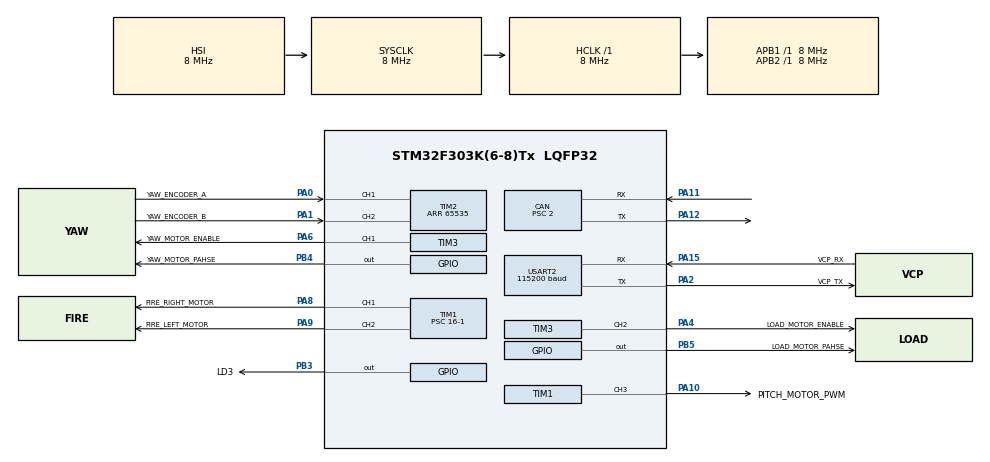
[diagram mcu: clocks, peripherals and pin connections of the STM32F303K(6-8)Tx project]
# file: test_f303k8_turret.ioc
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Mcu.Family=STM32F3
RCC.CortexFreq_Value=8000000
PF0\ /\ OSC_IN.Mode=HSE-External-Clock-Source
NVIC.CAN_RX0_IRQn=true\:0\:0\:false\:false\:true\:true\:true
PA14.GPIO_Label=SWCLK
PA0.GPIO_Label=YAW_ENCODER_A
PA11.Mode=CAN_Activate
PA6.GPIO_Label=YAW_MOTOR_ENABLE
TIM2.EncoderMode=TIM_ENCODERMODE_TI12
ProjectManager.StackSize=0x400
PA15.GPIO_Label=VCP_RX
PA12.Signal=CAN_TX
CAN.Prescaler=2
TIM1.Prescaler=16-1
TIM15.Prescaler=8-1
TIM3.Period=1000-1
RCC.AHBFreq_Value=8000000
TIM3.Channel-PWM\ Generation1\ CH1=TIM_CHANNEL_1
RCC.HSE_VALUE=8000000
USART2.VirtualMode-Asynchronous=VM_ASYNC
PA15.Mode=Asynchronous
TIM15.Period=1000-1
TIM1.Channel-PWM\ Generation1\ CH1=TIM_CHANNEL_1
PA14.Mode=Serial_Wire
PF0\ /\ OSC_IN.GPIO_Label=MCO
TIM3.Prescaler=8-1
PA10.GPIO_Label=PITCH_MOTOR_PWM
PA8.Signal=S_TIM1_CH1
SH.S_TIM3_CH1.0=TIM3_CH1,PWM Generation1 CH1
CAN.CalculateTimeQuantum=250.0
PA0.Signal=S_TIM2_CH1_ETR
Mcu.Package=LQFP32
PA6.Signal=S_TIM3_CH1
PA2.GPIO_Label=VCP_TX
PA10.Signal=S_TIM1_CH3
PA15.Signal=USART2_RX
PB5.GPIO_Label=LOAD_MOTOR_PAHSE
TIM1.Period=1250-1
PA4.GPIO_Label=LOAD_MOTOR_ENABLE
PB4.Signal=GPIO_Output
PB3.GPIO_Label=LD3
CAN.CalculateBaudRate=400000
PA9.GPIO_Label=FIRE_LEFT_MOTOR
USART2.BaudRate=115200
CAN.CalculateTimeBit=2500.00
PA13.Signal=SYS_JTMS-SWDIO
SH.S_TIM2_CH2.0=TIM2_CH2,Encoder_Interface
CAN.BS2=CAN_BS2_2TQ
PA8.GPIO_Label=FIRE_RIGHT_MOTOR
CAN.BS1=CAN_BS1_7TQ
SH.S_TIM1_CH1.0=TIM1_CH1,PWM Generation1 CH1
ProjectManager.TargetToolchain=STM32CubeIDE
PA9.Signal=S_TIM1_CH2
TIM1.Channel-PWM\ Generation2\ CH2=TIM_CHANNEL_2
PA1.Signal=S_TIM2_CH2
SH.S_TIM3_CH2.0=TIM3_CH2,PWM Generation2 CH2
NVIC.TIM1_BRK_TIM15_IRQn=true\:0\:0\:false\:false\:true\:true\:true
board=NUCLEO-F303K8
RCC.APB2Freq_Value=8000000
PF0\ /\ OSC_IN.Signal=RCC_OSC_IN
PB4.GPIO_Label=YAW_MOTOR_PAHSE
SH.S_TIM1_CH2.0=TIM1_CH2,PWM Generation2 CH2
PA1.GPIO_Label=YAW_ENCODER_B
TIM2.Period=65535
PA13.Mode=Serial_Wire
Mcu.Name=STM32F303K(6-8)Tx
PA13.GPIO_Label=SWDIO
PA2.Signal=USART2_TX
PB3.Signal=GPIO_Output
PA4.Signal=S_TIM3_CH2
RCC.SYSCLKFreq_VALUE=8000000
PB5.Signal=GPIO_Output
PA12.Mode=CAN_Activate
PA11.Signal=CAN_RX
SH.S_TIM2_CH1_ETR.0=TIM2_CH1,Encoder_Interface
VP_TIM15_VS_ClockSourceINT.Mode=Internal
PA14.Signal=SYS_JTCK-SWCLK
ProjectManager.HeapSize=0x200
SH.S_TIM1_CH3.0=TIM1_CH3,PWM Generation3 CH3
RCC.HSI_VALUE=8000000
NVIC.PriorityGroup=NVIC_PRIORITYGROUP_4
TIM3.Channel-PWM\ Generation2\ CH2=TIM_CHANNEL_2
PA2.Mode=Asynchronous
TIM1.Channel-PWM\ Generation3\ CH3=TIM_CHANNEL_3
RCC.APB1Freq_Value=8000000

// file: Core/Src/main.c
/* USER CODE BEGIN Header */
/**
  ******************************************************************************
  * @file           : main.c
  * @brief          : Main program body
  ******************************************************************************
  * @attention
  *
  * <h2><center>&copy; Copyright (c) 2024 STMicroelectronics.
  * All rights reserved.</center></h2>
  *
  * This software component is licensed by ST under BSD 3-Clause license,
  * the "License"; You may not use this file except in compliance with the
  * License. You may obtain a copy of the License at:
  *                        opensource.org/licenses/BSD-3-Clause
  *
  ******************************************************************************
  */
/* USER CODE END Header */
#include "main.h"

/* USER CODE BEGIN Includes */
#include <stdio.h>
#include <stdlib.h>
#include <string.h>
/* USER CODE END Includes */

CAN_HandleTypeDef hcan;

TIM_HandleTypeDef htim1;
TIM_HandleTypeDef htim2;
TIM_HandleTypeDef htim3;
TIM_HandleTypeDef htim15;

UART_HandleTypeDef huart2;

/* USER CODE BEGIN PV */
uint16_t motor_count = 0;
uint16_t encoder_count = 0;

float cmd_vel[2]; // yaw, pitch

uint16_t pitch_min = 250;
uint16_t pitch_max = 500;
uint16_t pitch_output;

/* USER CODE END PV */

void SystemClock_Config(void);
static void MX_GPIO_Init(void);
static void MX_USART2_UART_Init(void);
static void MX_CAN_Init(void);
static void MX_TIM1_Init(void);
static void MX_TIM2_Init(void);
static void MX_TIM3_Init(void);
static void MX_TIM15_Init(void);

/* USER CODE BEGIN 0 */
void HAL_CAN_RxFifo0MsgPendingCallback(CAN_HandleTypeDef *hcan)
{
  CAN_RxHeaderTypeDef RxHeader;
  uint8_t RxData[8];
  if (HAL_CAN_GetRxMessage(hcan, CAN_RX_FIFO0, &RxHeader, RxData) == HAL_OK)
  {
    // printf("id=%#x, [0]=%#x, [1]=%#x, [2]=%#x, [3]=%#x, [4]=%#x, [5]=%#x, [6]=%#x, [7]=%#x\r\n",
    //   RxHeader.StdId, RxData[0], RxData[1], RxData[2], RxData[3], RxData[4], RxData[5], RxData[6], RxData[7]);

    if (RxHeader.StdId == 0x712)
    {
      HAL_GPIO_TogglePin(LD3_GPIO_Port, LD3_Pin);
      union {
          float f;
          int32_t ui;
      } data;
      data.ui = (int32_t) (
            (((int32_t)RxData[0] << 24) & 0xFF000000)
          | (((int32_t)RxData[1] << 16) & 0x00FF0000)
          | (((int32_t)RxData[2] <<  8) & 0x0000FF00)
          | (((int32_t)RxData[3] <<  0) & 0x000000FF)
      );
      cmd_vel[0] = data.f;
      data.ui = (int32_t) (
            (((int32_t)RxData[4] << 24) & 0xFF000000)
          | (((int32_t)RxData[5] << 16) & 0x00FF0000)
          | (((int32_t)RxData[6] <<  8) & 0x0000FF00)
          | (((int32_t)RxData[7] <<  0) & 0x000000FF)
      );
      cmd_vel[1] = data.f;

      // printf("cmd_vel: [0]=%f, [1]=%f\r\n", cmd_vel[0], cmd_vel[1]);
    }
  }
}

int16_t read_encoder_value()
{
  uint16_t enc_buff = TIM2->CNT;
  int16_t enc_count = (int16_t)enc_buff - 32767;
  TIM2->CNT = 32767;
  return enc_count;
}

void HAL_TIM_PeriodElapsedCallback(TIM_HandleTypeDef *htim)
{
  if (htim == &htim15)
  {
    // ---encoder
    encoder_count++;
    if (encoder_count > 200 ) // 5Hz
    {
      encoder_count = 0;
      int16_t encoder_value= read_encoder_value();
      // printf("enc_buff: %d\r\n", encoder_value);
      printf("curr_yaw_vel(deg/s): %f\r\n", (float)encoder_value * 0.524476 * 0.657895); // 1:78 25/38
    }

    // ---motor
    motor_count++;
    if (motor_count > 50) // 20Hz
    {
      motor_count = 0;
      // yaw
      uint16_t yaw_output;
      if (cmd_vel[0] > 0)
      {
        yaw_output = (uint16_t)(300.0 * cmd_vel[0]);
        HAL_GPIO_WritePin(YAW_MOTOR_PAHSE_GPIO_Port, YAW_MOTOR_PAHSE_Pin, GPIO_PIN_SET);
      }
      else
      {
        yaw_output = (uint16_t)(-300.0 * cmd_vel[0]);
        HAL_GPIO_WritePin(YAW_MOTOR_PAHSE_GPIO_Port, YAW_MOTOR_PAHSE_Pin, GPIO_PIN_RESET);
      }
      __HAL_TIM_SET_COMPARE(&htim3, TIM_CHANNEL_1, yaw_output);
      HAL_TIM_PWM_Start(&htim3, TIM_CHANNEL_1);
      printf("yaw_output: %d\r\n", yaw_output);

      // pitch
      if (cmd_vel[1] > 0.001)
      {
        pitch_output -= 30;
      }
      else if(cmd_vel[1] < -0.001)
      {
        pitch_output += 30;
      }
      if (pitch_output < pitch_min)
      {
        pitch_output = pitch_min;
      }
      if (pitch_output > pitch_max)
      {
        pitch_output = pitch_max;
      }
      __HAL_TIM_SET_COMPARE(&htim1, TIM_CHANNEL_3, pitch_output); // 0~1250
      HAL_TIM_PWM_Start(&htim1, TIM_CHANNEL_3);
      printf("pitch_output: %d\r\n", pitch_output);
    }
  }
}
/* USER CODE END 0 */

int main(void)
{
  /* USER CODE BEGIN 1 */
  setbuf(stdout, NULL);
  /* USER CODE END 1 */

  /* MCU Configuration--------------------------------------------------------*/

  /* Reset of all peripherals, Initializes the Flash interface and the Systick. */
  HAL_Init();

  /* Configure the system clock */
  SystemClock_Config();

  /* Initialize all configured peripherals */
  MX_GPIO_Init();
  MX_USART2_UART_Init();
  MX_CAN_Init();
  MX_TIM1_Init();
  MX_TIM2_Init();
  MX_TIM3_Init();
  MX_TIM15_Init();
  /* USER CODE BEGIN 2 */
  HAL_TIM_Base_Start_IT(&htim15);
  HAL_TIM_Encoder_Start(&htim2, TIM_CHANNEL_ALL);
  HAL_CAN_Start(&hcan);
  if (HAL_CAN_ActivateNotification(&hcan, CAN_IT_RX_FIFO0_MSG_PENDING) != HAL_OK)
  {
    Error_Handler();
  }
  /* USER CODE END 2 */

  /* Infinite loop */
  while (1)
  {

    /* USER CODE BEGIN 3 */
    HAL_GPIO_TogglePin(LD3_GPIO_Port, LD3_Pin);
    HAL_Delay(50);
  }
  /* USER CODE END 3 */
}

void SystemClock_Config(void)
{
  RCC_OscInitTypeDef RCC_OscInitStruct = {0};
  RCC_ClkInitTypeDef RCC_ClkInitStruct = {0};
  RCC_PeriphCLKInitTypeDef PeriphClkInit = {0};

  /** Initializes the RCC Oscillators according to the specified parameters
  * in the RCC_OscInitTypeDef structure.
  */
  RCC_OscInitStruct.OscillatorType = RCC_OSCILLATORTYPE_HSI;
  RCC_OscInitStruct.HSIState = RCC_HSI_ON;
  RCC_OscInitStruct.HSICalibrationValue = RCC_HSICALIBRATION_DEFAULT;
  RCC_OscInitStruct.PLL.PLLState = RCC_PLL_NONE;
  if (HAL_RCC_OscConfig(&RCC_OscInitStruct) != HAL_OK)
  {
    Error_Handler();
  }
  /** Initializes the CPU, AHB and APB buses clocks
  */
  RCC_ClkInitStruct.ClockType = RCC_CLOCKTYPE_HCLK|RCC_CLOCKTYPE_SYSCLK
                              |RCC_CLOCKTYPE_PCLK1|RCC_CLOCKTYPE_PCLK2;
  RCC_ClkInitStruct.SYSCLKSource = RCC_SYSCLKSOURCE_HSI;
  RCC_ClkInitStruct.AHBCLKDivider = RCC_SYSCLK_DIV1;
  RCC_ClkInitStruct.APB1CLKDivider = RCC_HCLK_DIV1;
  RCC_ClkInitStruct.APB2CLKDivider = RCC_HCLK_DIV1;

  if (HAL_RCC_ClockConfig(&RCC_ClkInitStruct, FLASH_LATENCY_0) != HAL_OK)
  {
    Error_Handler();
  }
  PeriphClkInit.PeriphClockSelection = RCC_PERIPHCLK_TIM1;
  PeriphClkInit.Tim1ClockSelection = RCC_TIM1CLK_HCLK;
  if (HAL_RCCEx_PeriphCLKConfig(&PeriphClkInit) != HAL_OK)
  {
    Error_Handler();
  }
}

static void MX_CAN_Init(void)
{

  hcan.Instance = CAN;
  hcan.Init.Prescaler = 2;
  hcan.Init.Mode = CAN_MODE_NORMAL;
  hcan.Init.SyncJumpWidth = CAN_SJW_1TQ;
  hcan.Init.TimeSeg1 = CAN_BS1_7TQ;
  hcan.Init.TimeSeg2 = CAN_BS2_2TQ;
  hcan.Init.TimeTriggeredMode = DISABLE;
  hcan.Init.AutoBusOff = DISABLE;
  hcan.Init.AutoWakeUp = DISABLE;
  hcan.Init.AutoRetransmission = DISABLE;
  hcan.Init.ReceiveFifoLocked = DISABLE;
  hcan.Init.TransmitFifoPriority = DISABLE;
  if (HAL_CAN_Init(&hcan) != HAL_OK)
  {
    Error_Handler();
  }
  /* USER CODE BEGIN CAN_Init 2 */
  CAN_FilterTypeDef  filter;
  uint32_t fId = 0x710 << 21;
  uint32_t fMask = (0x7F0 << 21) | 0x4;

  filter.FilterIdHigh         = fId >> 16;
  filter.FilterIdLow          = fId;
  filter.FilterMaskIdHigh     = fMask >> 16;
  filter.FilterMaskIdLow      = fMask;
  filter.FilterScale          = CAN_FILTERSCALE_32BIT;
  filter.FilterFIFOAssignment = CAN_FILTER_FIFO0;
  filter.FilterBank           = 0;
  filter.FilterMode           = CAN_FILTERMODE_IDMASK;
  filter.SlaveStartFilterBank = 14;
  filter.FilterActivation     = ENABLE;

  if (HAL_CAN_ConfigFilter(&hcan, &filter) != HAL_OK)
  {
    Error_Handler();
  }
  /* USER CODE END CAN_Init 2 */

}

static void MX_TIM1_Init(void)
{

  TIM_MasterConfigTypeDef sMasterConfig = {0};
  TIM_OC_InitTypeDef sConfigOC = {0};
  TIM_BreakDeadTimeConfigTypeDef sBreakDeadTimeConfig = {0};

  htim1.Instance = TIM1;
  htim1.Init.Prescaler = 16-1;
  htim1.Init.CounterMode = TIM_COUNTERMODE_UP;
  htim1.Init.Period = 1250-1;
  htim1.Init.ClockDivision = TIM_CLOCKDIVISION_DIV1;
  htim1.Init.RepetitionCounter = 0;
  htim1.Init.AutoReloadPreload = TIM_AUTORELOAD_PRELOAD_DISABLE;
  if (HAL_TIM_PWM_Init(&htim1) != HAL_OK)
  {
    Error_Handler();
  }
  sMasterConfig.MasterOutputTrigger = TIM_TRGO_RESET;
  sMasterConfig.MasterOutputTrigger2 = TIM_TRGO2_RESET;
  sMasterConfig.MasterSlaveMode = TIM_MASTERSLAVEMODE_DISABLE;
  if (HAL_TIMEx_MasterConfigSynchronization(&htim1, &sMasterConfig) != HAL_OK)
  {
    Error_Handler();
  }
  sConfigOC.OCMode = TIM_OCMODE_PWM1;
  sConfigOC.Pulse = 0;
  sConfigOC.OCPolarity = TIM_OCPOLARITY_HIGH;
  sConfigOC.OCNPolarity = TIM_OCNPOLARITY_HIGH;
  sConfigOC.OCFastMode = TIM_OCFAST_DISABLE;
  sConfigOC.OCIdleState = TIM_OCIDLESTATE_RESET;
  sConfigOC.OCNIdleState = TIM_OCNIDLESTATE_RESET;
  if (HAL_TIM_PWM_ConfigChannel(&htim1, &sConfigOC, TIM_CHANNEL_1) != HAL_OK)
  {
    Error_Handler();
  }
  if (HAL_TIM_PWM_ConfigChannel(&htim1, &sConfigOC, TIM_CHANNEL_2) != HAL_OK)
  {
    Error_Handler();
  }
  if (HAL_TIM_PWM_ConfigChannel(&htim1, &sConfigOC, TIM_CHANNEL_3) != HAL_OK)
  {
    Error_Handler();
  }
  sBreakDeadTimeConfig.OffStateRunMode = TIM_OSSR_DISABLE;
  sBreakDeadTimeConfig.OffStateIDLEMode = TIM_OSSI_DISABLE;
  sBreakDeadTimeConfig.LockLevel = TIM_LOCKLEVEL_OFF;
  sBreakDeadTimeConfig.DeadTime = 0;
  sBreakDeadTimeConfig.BreakState = TIM_BREAK_DISABLE;
  sBreakDeadTimeConfig.BreakPolarity = TIM_BREAKPOLARITY_HIGH;
  sBreakDeadTimeConfig.BreakFilter = 0;
  sBreakDeadTimeConfig.Break2State = TIM_BREAK2_DISABLE;
  sBreakDeadTimeConfig.Break2Polarity = TIM_BREAK2POLARITY_HIGH;
  sBreakDeadTimeConfig.Break2Filter = 0;
  sBreakDeadTimeConfig.AutomaticOutput = TIM_AUTOMATICOUTPUT_DISABLE;
  if (HAL_TIMEx_ConfigBreakDeadTime(&htim1, &sBreakDeadTimeConfig) != HAL_OK)
  {
    Error_Handler();
  }
  HAL_TIM_MspPostInit(&htim1);

}

static void MX_TIM2_Init(void)
{

  TIM_Encoder_InitTypeDef sConfig = {0};
  TIM_MasterConfigTypeDef sMasterConfig = {0};

  htim2.Instance = TIM2;
  htim2.Init.Prescaler = 0;
  htim2.Init.CounterMode = TIM_COUNTERMODE_UP;
  htim2.Init.Period = 65535;
  htim2.Init.ClockDivision = TIM_CLOCKDIVISION_DIV1;
  htim2.Init.AutoReloadPreload = TIM_AUTORELOAD_PRELOAD_DISABLE;
  sConfig.EncoderMode = TIM_ENCODERMODE_TI12;
  sConfig.IC1Polarity = TIM_ICPOLARITY_RISING;
  sConfig.IC1Selection = TIM_ICSELECTION_DIRECTTI;
  sConfig.IC1Prescaler = TIM_ICPSC_DIV1;
  sConfig.IC1Filter = 0;
  sConfig.IC2Polarity = TIM_ICPOLARITY_RISING;
  sConfig.IC2Selection = TIM_ICSELECTION_DIRECTTI;
  sConfig.IC2Prescaler = TIM_ICPSC_DIV1;
  sConfig.IC2Filter = 0;
  if (HAL_TIM_Encoder_Init(&htim2, &sConfig) != HAL_OK)
  {
    Error_Handler();
  }
  sMasterConfig.MasterOutputTrigger = TIM_TRGO_RESET;
  sMasterConfig.MasterSlaveMode = TIM_MASTERSLAVEMODE_DISABLE;
  if (HAL_TIMEx_MasterConfigSynchronization(&htim2, &sMasterConfig) != HAL_OK)
  {
    Error_Handler();
  }

}

static void MX_TIM3_Init(void)
{

  TIM_MasterConfigTypeDef sMasterConfig = {0};
  TIM_OC_InitTypeDef sConfigOC = {0};

  htim3.Instance = TIM3;
  htim3.Init.Prescaler = 8-1;
  htim3.Init.CounterMode = TIM_COUNTERMODE_UP;
  htim3.Init.Period = 1000-1;
  htim3.Init.ClockDivision = TIM_CLOCKDIVISION_DIV1;
  htim3.Init.AutoReloadPreload = TIM_AUTORELOAD_PRELOAD_DISABLE;
  if (HAL_TIM_PWM_Init(&htim3) != HAL_OK)
  {
    Error_Handler();
  }
  sMasterConfig.MasterOutputTrigger = TIM_TRGO_RESET;
  sMasterConfig.MasterSlaveMode = TIM_MASTERSLAVEMODE_DISABLE;
  if (HAL_TIMEx_MasterConfigSynchronization(&htim3, &sMasterConfig) != HAL_OK)
  {
    Error_Handler();
  }
  sConfigOC.OCMode = TIM_OCMODE_PWM1;
  sConfigOC.Pulse = 0;
  sConfigOC.OCPolarity = TIM_OCPOLARITY_HIGH;
  sConfigOC.OCFastMode = TIM_OCFAST_DISABLE;
  if (HAL_TIM_PWM_ConfigChannel(&htim3, &sConfigOC, TIM_CHANNEL_1) != HAL_OK)
  {
    Error_Handler();
  }
  if (HAL_TIM_PWM_ConfigChannel(&htim3, &sConfigOC, TIM_CHANNEL_2) != HAL_OK)
  {
    Error_Handler();
  }
  HAL_TIM_MspPostInit(&htim3);

}

static void MX_TIM15_Init(void)
{

  TIM_ClockConfigTypeDef sClockSourceConfig = {0};
  TIM_MasterConfigTypeDef sMasterConfig = {0};

  htim15.Instance = TIM15;
  htim15.Init.Prescaler = 8-1;
  htim15.Init.CounterMode = TIM_COUNTERMODE_UP;
  htim15.Init.Period = 1000-1;
  htim15.Init.ClockDivision = TIM_CLOCKDIVISION_DIV1;
  htim15.Init.RepetitionCounter = 0;
  htim15.Init.AutoReloadPreload = TIM_AUTORELOAD_PRELOAD_DISABLE;
  if (HAL_TIM_Base_Init(&htim15) != HAL_OK)
  {
    Error_Handler();
  }
  sClockSourceConfig.ClockSource = TIM_CLOCKSOURCE_INTERNAL;
  if (HAL_TIM_ConfigClockSource(&htim15, &sClockSourceConfig) != HAL_OK)
  {
    Error_Handler();
  }
  sMasterConfig.MasterOutputTrigger = TIM_TRGO_RESET;
  sMasterConfig.MasterSlaveMode = TIM_MASTERSLAVEMODE_DISABLE;
  if (HAL_TIMEx_MasterConfigSynchronization(&htim15, &sMasterConfig) != HAL_OK)
  {
    Error_Handler();
  }

}

static void MX_USART2_UART_Init(void)
{

  huart2.Instance = USART2;
  huart2.Init.BaudRate = 115200;
  huart2.Init.WordLength = UART_WORDLENGTH_8B;
  huart2.Init.StopBits = UART_STOPBITS_1;
  huart2.Init.Parity = UART_PARITY_NONE;
  huart2.Init.Mode = UART_MODE_TX_RX;
  huart2.Init.HwFlowCtl = UART_HWCONTROL_NONE;
  huart2.Init.OverSampling = UART_OVERSAMPLING_16;
  huart2.Init.OneBitSampling = UART_ONE_BIT_SAMPLE_DISABLE;
  huart2.AdvancedInit.AdvFeatureInit = UART_ADVFEATURE_NO_INIT;
  if (HAL_UART_Init(&huart2) != HAL_OK)
  {
    Error_Handler();
  }

}

static void MX_GPIO_Init(void)
{
  GPIO_InitTypeDef GPIO_InitStruct = {0};

  /* GPIO Ports Clock Enable */
  __HAL_RCC_GPIOF_CLK_ENABLE();
  __HAL_RCC_GPIOA_CLK_ENABLE();
  __HAL_RCC_GPIOB_CLK_ENABLE();

  /*Configure GPIO pin Output Level */
  HAL_GPIO_WritePin(GPIOB, LD3_Pin|YAW_MOTOR_PAHSE_Pin|LOAD_MOTOR_PAHSE_Pin, GPIO_PIN_RESET);

  /*Configure GPIO pins : LD3_Pin YAW_MOTOR_PAHSE_Pin LOAD_MOTOR_PAHSE_Pin */
  GPIO_InitStruct.Pin = LD3_Pin|YAW_MOTOR_PAHSE_Pin|LOAD_MOTOR_PAHSE_Pin;
  GPIO_InitStruct.Mode = GPIO_MODE_OUTPUT_PP;
  GPIO_InitStruct.Pull = GPIO_NOPULL;
  GPIO_InitStruct.Speed = GPIO_SPEED_FREQ_LOW;
  HAL_GPIO_Init(GPIOB, &GPIO_InitStruct);

}

/* USER CODE BEGIN 4 */
int _write(int file, char *ptr, int len)
{
  HAL_UART_Transmit(&huart2,(uint8_t *)ptr,len,10);
  return len;
}
/* USER CODE END 4 */

void Error_Handler(void)
{
  __disable_irq();
  while (1)
  {
  }
}

/************************ (C) COPYRIGHT STMicroelectronics *****END OF FILE****/
